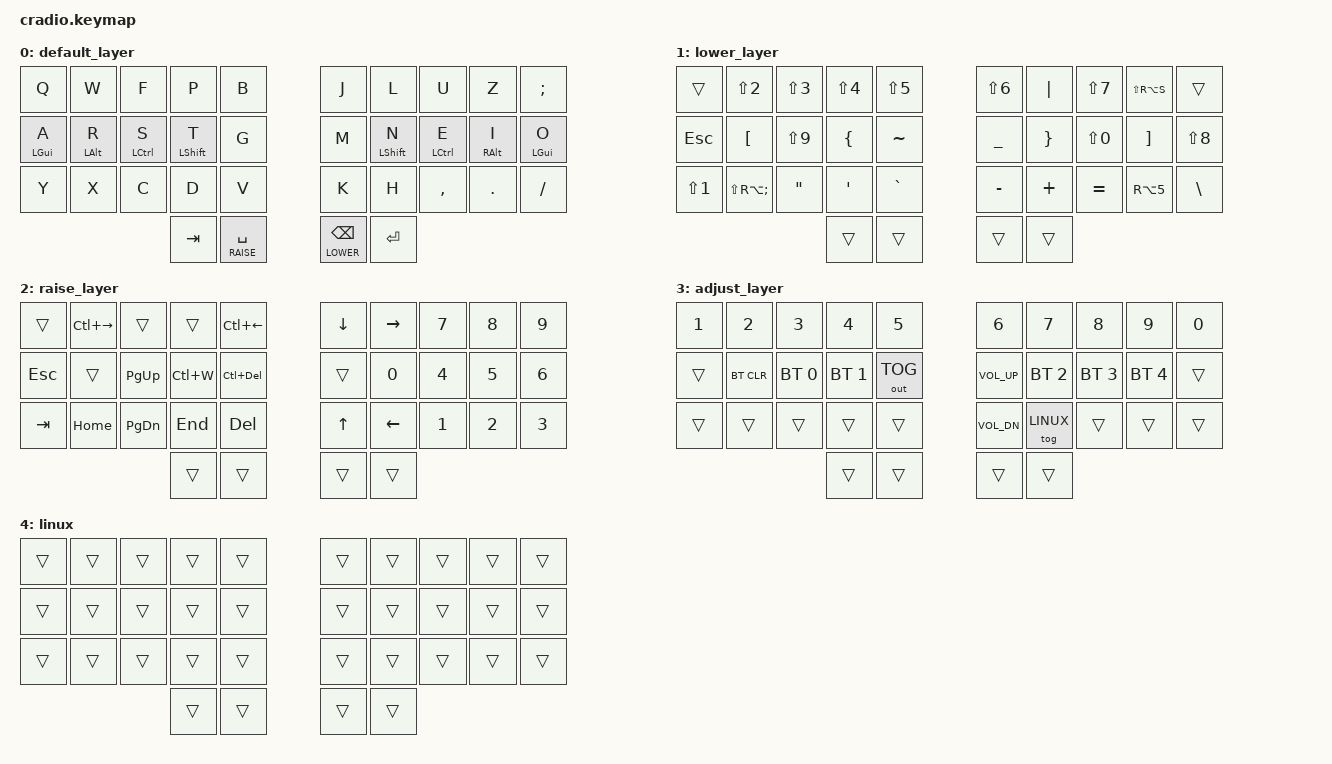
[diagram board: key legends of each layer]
/*
 * Copyright (c) 2020 The ZMK Contributors
 *
 * SPDX-License-Identifier: MIT
 */

#include <behaviors.dtsi>
#include <dt-bindings/zmk/keys.h>
#include <dt-bindings/zmk/outputs.h>
#include <dt-bindings/zmk/bt.h>

#define DEFAULT 0
#define LOWER 1
#define RAISE 2
#define ADJUST 3
#define LINUX 4

#define UMLAUT_AQ <10 0>
#define UMLAUT_SF <12 2>
#define UMLAUT_UE <7 17>
#define UMLAUT_OS <19 9>
#define UMLAUT_MAC_LAYERS <0 1 2 3>
#define UMLAUT_LIN_LAYERS <4>

&lt {
    flavor = "tap-preferred";
    quick-tap-ms = <200>;
};
/ {
    conditional_layers {
        compatible = "zmk,conditional-layers";
        tri_layer {
            if-layers = <1 2>;
            then-layer = <3>;
        };
    };
    combos {
        compatible = "zmk,combos";
        #include "umlaut_combos.dtsi"
    };
    behaviors {
        #include "umlaut_macros.dtsi"
        hm: homerow_mods {
            compatible = "zmk,behavior-hold-tap";
            label = "HOMEROW_MODS";
            #binding-cells = <2>;
            tapping-term-ms = <150>;
            quick-tap-ms = <0>;
            flavor = "balanced";
            bindings = <&kp>, <&kp>;
        };
    };
    keymap {
        compatible = "zmk,keymap";

        default_layer {
// ------------------------------------------------------------------------------------------------------------
//            |  Q  |  W  |  F  |  P  |  B  |                 |  J  |  L  |  U   |  Z  |  ;  |
//            |  A  |  R  |  S  |  T  |  G  |                 |  M  |  N  |  E   |  I  |  O  |
//            |  Y  |  X  |  C  |  D  |  V  |                 |  K  |  H  |  ,   |  .  |  /  |
//                              | TAB | SPC |                 | BSP | ENT |
            bindings = <
&kp Q      &kp W      &kp F       &kp P       &kp B     &kp J   &kp L       &kp U       &kp Z      &kp SEMI
&hm LGUI A &hm LALT R &hm LCTRL S &hm LSHFT T &kp G     &kp M   &hm LSHFT N &hm LCTRL E &hm RALT I &hm LGUI O
&kp Y      &kp X      &kp C       &kp D       &kp V     &kp K   &kp H       &kp COMMA   &kp DOT    &kp FSLH
                           &kp TAB &lt RAISE SPACE     &lt LOWER BSPC &kp RET
            >;
		};

        lower_layer {
// TODO: Some binds are waiting for shifted keycode support.
// ------------------------------------------------------------------------------------------------------------
//                           |     |  @  |  #  |  $  |  %  |                 |  ^  |  |  |  &  |  §  |     |
//                           | ESC |  [  |  (  |  {  |  ~  |                 |  _  |  }  |  )  |  ]  |  *  |
//                           |  !  |  °  |  "  |  '  |  `  |     |     |     |  -  |  +  |  =  |  €  |  \  |
            bindings = <
&trans     &kp LS(N2)       &kp LS(N3) &kp LS(N4) &kp LS(N5)                  &kp LS(N6) &kp PIPE  &kp LS(N7) &kp LS(RA(S))  &trans
&kp ESC    &kp LBKT         &kp LS(N9) &kp LBRC   &kp TILDE                   &kp UNDER  &kp RBRC  &kp LS(N0) &kp RBKT       &kp LS(N8)
&kp LS(N1) &kp LS(RA(SEMI)) &kp DQT    &kp SQT    &kp GRAVE                   &kp MINUS  &kp PLUS  &kp EQUAL  &kp RA(N5)     &kp BSLH
                                       &trans    &trans                       &trans    &trans
            >;
		};

        raise_layer {
// ------------------------------------------------------------------------------------------------------------
//            |     | WOR |     |     | WOB |                |  v  |  <  |  7  |  8  |  9  |
//            | ESC |     | PGU | BSW | DEW |                |     |  0  |  4  |  5  |  6  |
//            | TAB | HOM | PGD | END | DEL |                |  ^  |  >  |  1  |  2  |  3  |
//                              |     |     |                |     |     |
            bindings = <
&trans   &kp LC(RIGHT) &trans     &trans    &kp LC(LEFT)            &kp DOWN &kp RIGHT &kp N7 &kp N8 &kp N9
&kp ESC  &trans        &kp PG_UP  &kp LC(W) &kp LC(DEL)             &trans   &kp N0    &kp N4 &kp N5 &kp N6
&kp TAB  &kp HOME      &kp PG_DN  &kp END   &kp DEL                 &kp UP   &kp LEFT  &kp N1 &kp N2 &kp N3
                                  &trans    &trans                  &trans   &trans
            >;
		};

        adjust_layer {
// ------------------------------------------------------------------------------------------------------------
//            |  1  |  2  |  3  |  4  |  5  |                |  6  |  7  |  8  |  9  |  0  |
//            |     |     | bt0 | bt1 | out |                |     | bt2 | bt3 |     |     |
//            |     |     |     |     |     |                |     |     |     |     |     |
//                  |     |     |     |     |                |     |     |     |     |
            bindings = <
&kp N1   &kp N2      &kp N3       &kp N4       &kp N5              &kp N6        &kp N7       &kp N8       &kp N9       &kp N0
&trans   &bt BT_CLR  &bt BT_SEL 0 &bt BT_SEL 1 &out OUT_TOG        &kp K_VOL_UP  &bt BT_SEL 2 &bt BT_SEL 3 &bt BT_SEL 4 &trans
&trans   &trans      &trans       &trans       &trans              &kp K_VOL_DN  &tog LINUX   &trans       &trans       &trans
                                  &trans       &trans              &trans        &trans
            >;
        };

        linux {
            bindings = <
&trans &trans &trans &trans &trans   &trans &trans &trans &trans &trans
&trans &trans &trans &trans &trans   &trans &trans &trans &trans &trans
&trans &trans &trans &trans &trans   &trans &trans &trans &trans &trans
                     &trans &trans   &trans &trans
            >;
        };
    };
};
